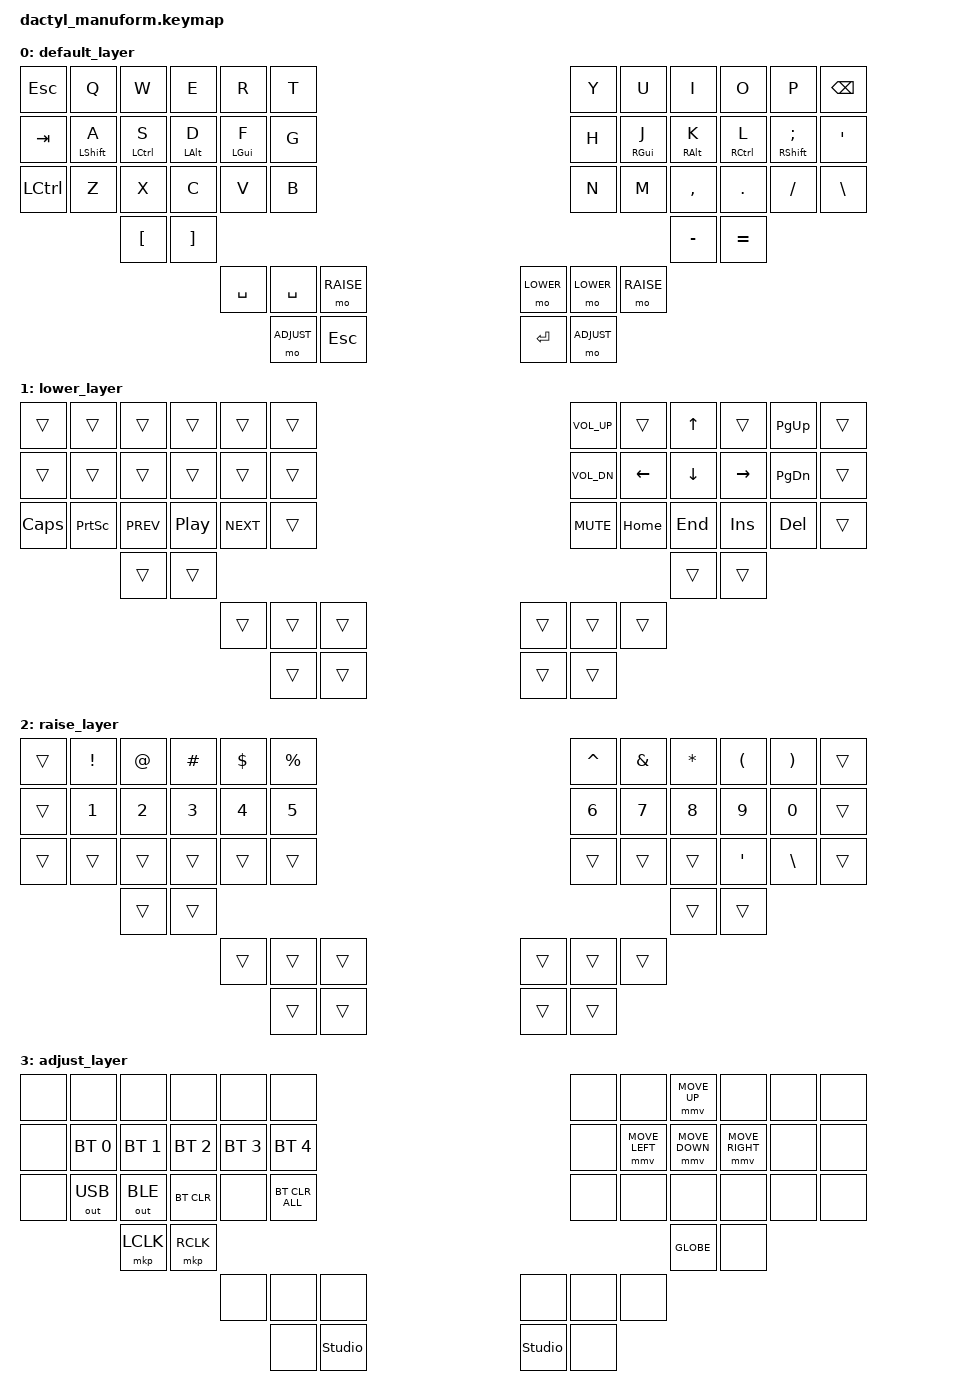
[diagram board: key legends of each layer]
#include <behaviors.dtsi>
#include <dt-bindings/zmk/keys.h>
#include <dt-bindings/zmk/bt.h>
#include <dt-bindings/zmk/outputs.h>
#include <dt-bindings/zmk/mouse.h>
#include <dt-bindings/zmk/pointing.h>

#define DEFAULT 0
#define LOWER   1
#define RAISE   2
#define ADJUST  3

// Mouse movement speed (adjust as needed: 400-800 slow, 1000-1500 medium, 2000+ fast)
#define MOUSE_MOVE_SPEED 1500

&mt {
    flavor = "balanced";
    tapping-term-ms = <200>;
    quick-tap-ms = <110>;
};

/ {
    keymap {
        compatible = "zmk,keymap";

        default_layer {
            // Left Hand Keys:                          Right Hand Keys:
            // Esc   Q W E R T                          Y U I O P BSPC
            // Tab   A S D F G                          H J K L ; '
            // LCTRL Z X C V B                          N M , . / \
            //     [ ]                                    - =
            //         SPACE                              SPACE
            //             RAISE LOWER         LOWER RAISE
            //             ADJUST ESC          ENTER ADJUST
            bindings = <
                &kp ESC    &kp Q        &kp W        &kp E        &kp R       &kp T                                   &kp Y      &kp U       &kp I        &kp O        &kp P                &kp BSPC
                &kp TAB    &mt LSHFT A  &mt LCTRL S  &mt LALT D   &mt LGUI F  &kp G                                   &kp H      &mt RGUI J  &mt RALT K   &mt RCTRL L  &mt RSHFT SEMICOLON  &kp SQT
                &kp LCTRL  &kp Z        &kp X        &kp C        &kp V       &kp B                                   &kp N      &kp M       &kp COMMA    &kp DOT      &kp SLASH            &kp BSLH
                                        &kp LBKT     &kp RBKT                                                                                &kp MINUS    &kp EQUAL
                                                                  &kp SPACE                                                      &kp SPACE
                                                                              &mo RAISE    &mo LOWER       &mo LOWER  &mo RAISE
                                                                              &mo ADJUST   &kp ESC         &kp ENTER  &mo ADJUST
            >;
        };

        lower_layer {
            // Left Hand Keys:                    Right Hand Keys:
            // - - - - - -                         VOL+ - UP - PGUP -
            // - - - - - -                         VOL- LEFT DOWN RIGHT PGDN -
            // CAPS PSCRN PREV PP NEXT -            MUTE HOME END INS DEL -
            //     - -                                - -
            //          -                           -
            //             - -                  - -
            //             - -                  - -
            bindings = <
                &trans       &trans       &trans       &trans       &trans       &trans                                     &kp C_VOL_UP  &trans      &kp UP       &trans       &kp PG_UP     &trans
                &trans       &trans       &trans       &trans       &trans       &trans                                     &kp C_VOL_DN  &kp LEFT    &kp DOWN     &kp RIGHT    &kp PG_DN     &trans
                &kp CAPS     &kp PSCRN    &kp C_PREV   &kp C_PP     &kp C_NEXT   &trans                                     &kp C_MUTE    &kp HOME    &kp END      &kp INS      &kp DEL       &trans
                                          &trans       &trans                                                                                         &trans       &trans
                                                                    &trans                                                                &trans
                                                                                 &trans       &trans           &trans       &trans
                                                                                 &trans       &trans           &trans       &trans
            >;
        };

        raise_layer {
            // Left Hand Keys:                    Right Hand Keys:
            // - ! @ # $ %                          ^ & * ( ) -
            // - 1 2 3 4 5                          6 7 8 9 0 -
            // - - - - - -                          - - - ' \ -
            //     - -                                  - -
            //           -                          -
            //             - -                  - -
            //             - -                  - -
            bindings = <
                &trans      &kp EXCL     &kp AT       &kp HASH     &kp DLLR     &kp PRCNT                                 &kp CARET     &kp AMPS    &kp ASTRK    &kp LPAR         &kp RPAR      &trans
                &trans      &kp N1       &kp N2       &kp N3       &kp N4       &kp N5                                    &kp N6        &kp N7      &kp N8       &kp N9           &kp N0        &trans
                &trans      &trans       &trans       &trans       &trans       &trans                                    &trans        &trans      &trans       &kp SINGLE_QUOTE &kp BSLH      &trans
                                         &trans       &trans                                                                                        &trans       &trans
                                                                   &trans                                                               &trans
                                                                                &trans       &trans            &trans     &trans
                                                                                &trans       &trans            &trans     &trans
            >;
        };

        adjust_layer {
            // Left Hand Keys:                    Right Hand Keys:
            // F1 F2 F3 F4 F5                      F6 F7 F8 F9 F10
            // BT0 BT1 BT2 BT3 BT4                 - - - F11 F12
            // USB BLE - - -                       - - - - -
            //     BT_CLR BT_CLR_ALL                   - -
            //         - -                      - -
            //             - -    - -
            //             - -    - -
            bindings = <
                &none  &none        &none        &none        &none        &none                                        &none         &none           &mmv MOVE_UP    &none            &none  &none
                &none  &bt BT_SEL 0 &bt BT_SEL 1 &bt BT_SEL 2 &bt BT_SEL 3 &bt BT_SEL 4                                 &none         &mmv MOVE_LEFT  &mmv MOVE_DOWN  &mmv MOVE_RIGHT  &none  &none
                &none  &out OUT_USB &out OUT_BLE &bt BT_CLR   &none        &bt BT_CLR_ALL                               &none         &none           &none           &none            &none  &none
                                    &mkp LCLK    &mkp RCLK                                                                                            &kp GLOBE       &none
                                                              &none                                                                   &none
                                                                           &none        &none           &none           &none
                                                                           &none        &studio_unlock  &studio_unlock  &none
            >;
        };

        extra1 {
            status = "reserved";
        };

        extra2 {
            status = "reserved";
        };

        extra3 {
            status = "reserved";
        };

        extra4 {
            status = "reserved";
        };

    };
};
